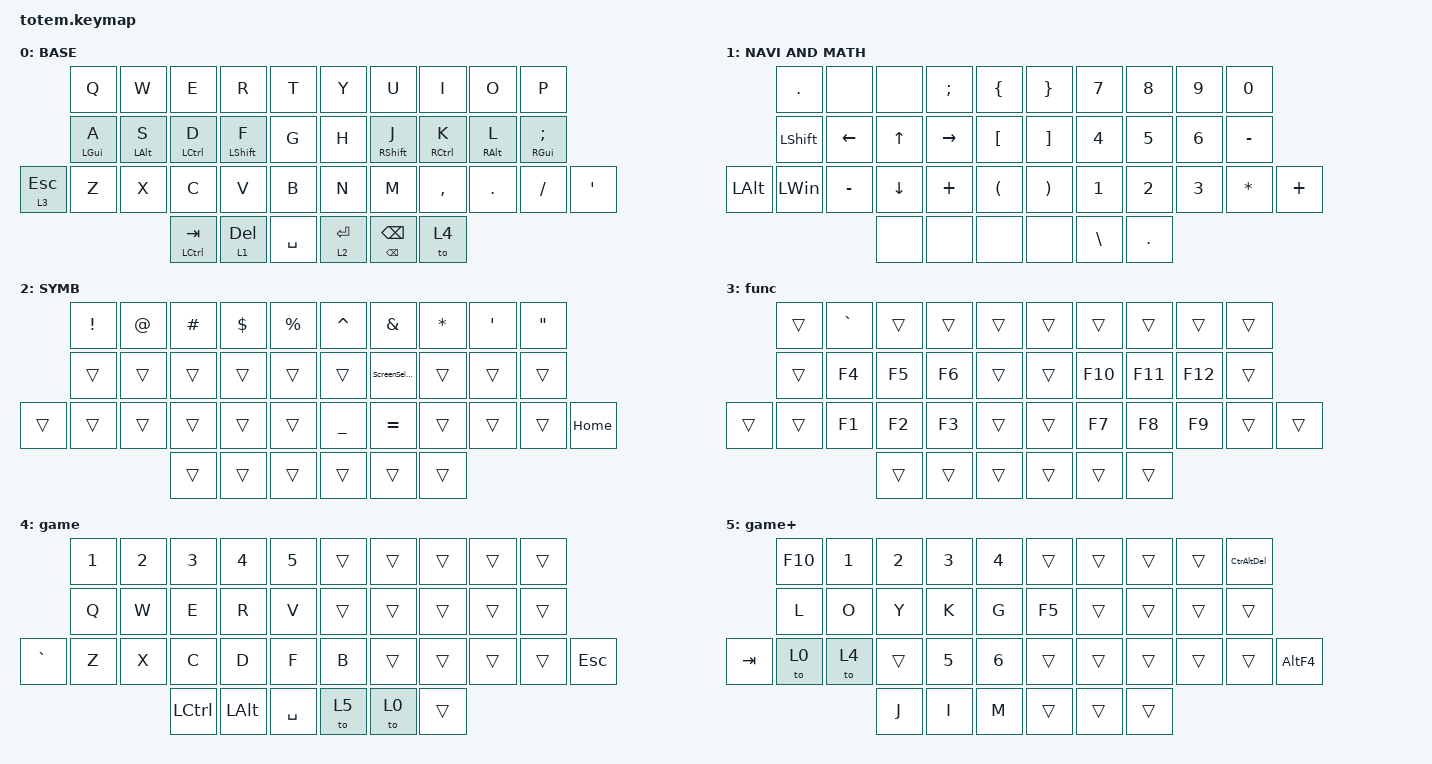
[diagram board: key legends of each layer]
//
//                                                        ▀▀▀▀▀     ▀▀▀▀▀          ▀▀█▀▀
//                                                        ▄▀▀▀▄  ▄  ▄▀▀▀▄  ▄  ▄▀▀▀▄  █  ▄▀▀▀▄
//                                                        █   █  █  █   █  █  █   █  █  █   █
//                                                         ▀▀▀   █   ▀▀▀   █   ▀▀▀   ▀   ▀▀▀
//                                                               █      ▄▄▄█▄▄▄    █   █  
//                                                               ▀      █  █  █     █▄█
//                                                             ▀▀▀▀▀    █  █  █      ▀
//                                                                      ▀  ▀  ▀
//
// ▄▄▄▄▄▄▄▄▄▄▄▄▄▄▄▄▄▄▄▄▄▄▄▄▄▄▄▄▄▄▄▄▄▄▄▄▄▄▄▄▄▄▄▄▄▄▄▄▄▄▄▄▄▄▄▄▄▄▄▄▄▄▄▄▄▄▄▄▄▄▄▄▄▄▄▄▄▄▄▄▄▄▄▄▄▄▄▄▄▄▄▄▄▄▄▄▄▄▄▄▄▄▄▄▄▄▄▄▄▄▄▄▄▄▄▄▄▄▄▄▄▄▄▄▄▄▄▄▄▄▄▄▄▄▄▄▄▄▄▄▄▄▄▄▄▄▄▄▄

#define BASE 0
#define MATH 1
#define SYMB 2
#define ADJU  3

#include <behaviors.dtsi>
#include <dt-bindings/zmk/keys.h>

/ {
    combos { compatible = "zmk,combos"; };

    behaviors {
        ss_hs_modmorph: ss_hs_modmorph {
            compatible = "zmk,behavior-mod-morph";
            label = "SS_HS_MODMORPH";
            bindings = <&kp M>, <&kp RIGHT_BRACKET>;

            #binding-cells = <0>;
            mods = <(MOD_LSFT|MOD_RSFT)>;
        };

        kh_hs_tapdance: kh_hs_tapdance {
            compatible = "zmk,behavior-tap-dance";
            label = "KH_HS_TAPDANCE";
            #binding-cells = <0>;
            tapping-term-ms = <200>;
            bindings = <&kp LEFT_BRACKET>, <&kp RIGHT_BRACKET>;
        };

        hrm: hrm {
            compatible = "zmk,behavior-hold-tap";
            #binding-cells = <2>;
            flavor = "tap-preferred";
            tapping-term-ms = <175>;
            quick-tap-ms = <200>;
            require-prior-idle-ms = <125>;
            bindings = <&kp>, <&kp>;
        };
    };

    macros {
        CtrAltDel: CtrAltDel {
            compatible = "zmk,behavior-macro";
            #binding-cells = <0>;
            bindings =
                <&macro_press>,
                <&kp LCTRL>,
                <&macro_press>,
                <&kp LEFT_ALT>,
                <&macro_press>,
                <&kp DELETE>;

            label = "CTRALTDEL";
        };

        AltF4: AltF4 {
            compatible = "zmk,behavior-macro";
            #binding-cells = <0>;
            bindings = <&kp LEFT_ALT &kp F4>;
            label = "ALTF4";
        };

        ScreenSelectedArea: ScreenSelectedArea {
            compatible = "zmk,behavior-macro";
            #binding-cells = <0>;
            bindings = <&kp LEFT_WIN &kp LSHIFT &kp S>;
            label = "SCREENSELECTEDAREA";
        };
    };

    keymap {
        compatible = "zmk,keymap";

        base {
            label = "BASE";
            bindings = <
              &kp Q        &kp W        &kp E           &kp R         &kp T        &kp Y        &kp U                     &kp I         &kp O        &kp P
              &hrm LGUI A  &hrm LALT S  &hrm LCTRL D    &hrm LSHFT F  &kp G        &kp H        &hrm RSHFT J              &hrm RCTRL K  &hrm RALT L  &hrm RGUI SEMICOLON
&lt 3 ESCAPE  &kp Z        &kp X        &kp C           &kp V         &kp B        &kp N        &kp M                     &kp COMMA     &kp DOT      &kp FSLH             &kp SQT
                                        &hrm LCTRL TAB  &lt 1 DELETE  &kp SPACE    &lt 2 ENTER  &hrm BACKSPACE BACKSPACE  &to 4
            >;
        };

        NnM {
            label = "NAVI AND MATH";
            bindings = <
              &kp DOT         &none           &none           &kp SEMICOLON    &kp LEFT_BRACE          &kp RIGHT_BRACE        &kp NUMBER_7   &kp NUMBER_8  &kp NUMBER_9  &kp NUMBER_0
              &kp LEFT_SHIFT  &kp LEFT_ARROW  &kp UP_ARROW    &kp RIGHT_ARROW  &kp LEFT_BRACKET        &kp RIGHT_BRACKET      &kp NUMBER_4   &kp NUMBER_5  &kp NUMBER_6  &kp MINUS
&kp LEFT_ALT  &kp LEFT_WIN    &kp MINUS       &kp DOWN_ARROW  &kp PLUS         &kp LEFT_PARENTHESIS    &kp RIGHT_PARENTHESIS  &kp NUMBER_1   &kp NUMBER_2  &kp NUMBER_3  &kp ASTERISK  &kp PLUS
                                              &none           &none            &none                   &none                  &kp BACKSLASH  &kp DOT
            >;
        };

        symb {
            label = "SYMB";
            bindings = <
        &kp EXCLAMATION  &kp AT_SIGN  &kp HASH  &kp DOLLAR  &kp PERCENT    &kp CARET       &kp AMPERSAND        &kp ASTERISK  &kp SINGLE_QUOTE  &kp DOUBLE_QUOTES
        &trans           &trans       &trans    &trans      &trans         &trans          &ScreenSelectedArea  &trans        &trans            &trans
&trans  &trans           &trans       &trans    &trans      &trans         &kp UNDERSCORE  &kp EQUAL            &trans        &trans            &trans             &kp HOME
                                      &trans    &trans      &trans         &trans          &trans               &trans
            >;
        };

        func {
            bindings = <
        &trans  &kp GRAVE  &trans  &trans  &trans    &trans  &trans   &trans   &trans   &trans
        &trans  &kp F4     &kp F5  &kp F6  &trans    &trans  &kp F10  &kp F11  &kp F12  &trans
&trans  &trans  &kp F1     &kp F2  &kp F3  &trans    &trans  &kp F7   &kp F8   &kp F9   &trans  &trans
                           &trans  &trans  &trans    &trans  &trans   &trans
            >;
        };

        game {
            bindings = <
           &kp NUMBER_1  &kp NUMBER_2  &kp NUMBER_3  &kp NUMBER_4  &kp N5       &trans  &trans  &trans  &trans  &trans
           &kp Q         &kp W         &kp E         &kp R         &kp V        &trans  &trans  &trans  &trans  &trans
&kp GRAVE  &kp Z         &kp X         &kp C         &kp D         &kp F        &kp B   &trans  &trans  &trans  &trans  &kp ESCAPE
                                       &kp LCTRL     &kp LALT      &kp SPACE    &to 5   &to 0   &trans
            >;
        };

        game+ {
            bindings = <
         &kp F10  &kp N1  &kp N2  &kp N3  &kp N4    &trans  &trans  &trans  &trans  &CtrAltDel
         &kp L    &kp O   &kp Y   &kp K   &kp G     &kp F5  &trans  &trans  &trans  &trans
&kp TAB  &to 0    &to 4   &trans  &kp N5  &kp N6    &trans  &trans  &trans  &trans  &trans      &AltF4
                          &kp J   &kp I   &kp M     &trans  &trans  &trans
            >;
        };
    };
};
